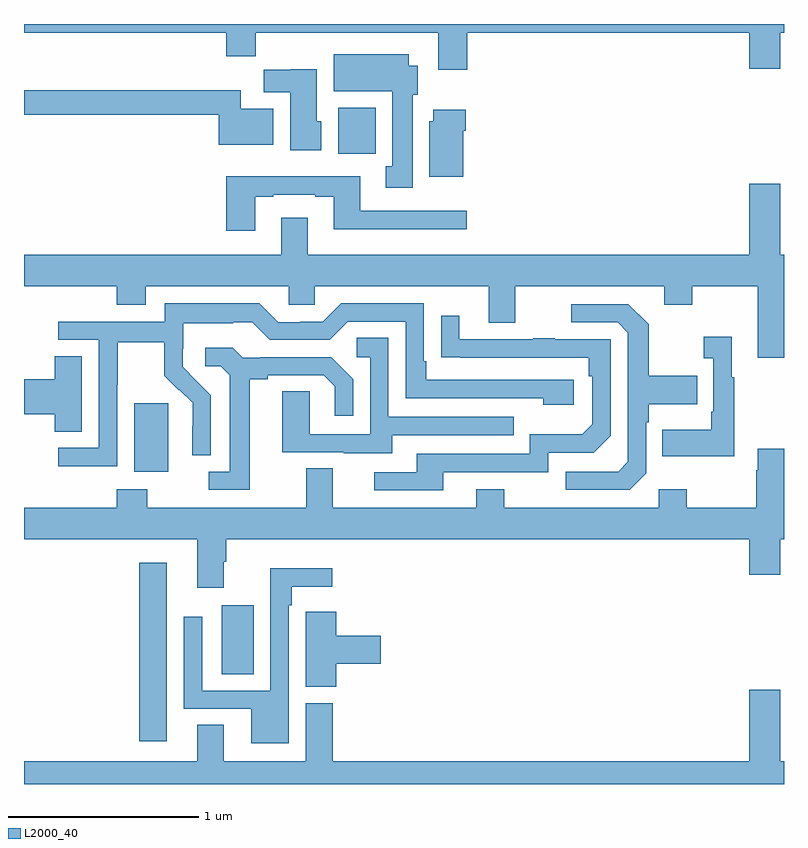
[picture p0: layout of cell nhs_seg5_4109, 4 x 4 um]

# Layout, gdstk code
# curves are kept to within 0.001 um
import gdstk
lib = gdstk.Library(unit=1e-6, precision=1e-09)
def R(c, l, rs):  # rectangles x0, y0, x1, y1
    for r in rs: c.add(gdstk.rectangle(r[:2], r[2:], *l))
def P(c, l, *ps):  # polygons
    for p in ps: c.add(gdstk.Polygon(p, *l))
L2000_40 = (2000, 40)

nhs_seg5_4109 = lib.new_cell('nhs_seg5_4109')
R(nhs_seg5_4109, L2000_40, [(353.606,861.024,353.752,861.964), (354.041,861.376,354.208,861.739), (353.579,862.442,353.758,862.803), (354.653,864.116,354.85,864.358)])
P(nhs_seg5_4109, L2000_40, [(355.334,864.752),(356.816,864.752),(356.816,864.564),(356.98,864.564),(356.98,864.752),(357,864.752),(357,864.799),(353,864.799),(353,864.752),(354.065,864.752),(354.065,864.628),(354.221,864.628),(354.221,864.752),(355.181,864.752),(355.181,864.558),(355.334,864.558)],
  [(355.045,864.426),(355.072,864.426),(355.072,864.58),(355.024,864.58),(355.024,864.64),(354.629,864.64),(354.629,864.446),(354.938,864.446),(354.938,864.05),(354.905,864.05),(354.905,863.937),(355.045,863.937)],
  [(354.565,864.288),(354.541,864.288),(354.541,864.562),(354.405,864.562),(354.405,864.558),(354.262,864.558),(354.262,864.44),(354.401,864.44),(354.401,864.134),(354.565,864.134)],
  [(354.313,864.352),(354.141,864.352),(354.141,864.451),(353,864.451),(353,864.322),(354.025,864.322),(354.025,864.164),(354.313,864.164)],
  [(355.312,864.236),(355.325,864.236),(355.325,864.349),(355.154,864.349),(355.154,864.288),(355.133,864.288),(355.133,863.996),(355.312,863.996)],
  [(354.217,863.889),(354.313,863.889),(354.313,863.901),(354.533,863.901),(354.533,863.889),(354.629,863.889),(354.629,863.72),(355.33,863.72),(355.33,863.817),(354.769,863.817),(354.769,863.998),(354.065,863.998),(354.065,863.712),(354.217,863.712)],
  [(357,863.584),(356.98,863.584),(356.98,863.959),(356.816,863.959),(356.816,863.584),(354.493,863.584),(354.493,863.779),(354.353,863.779),(354.353,863.584),(353,863.584),(353,863.42),(353.489,863.42),(353.489,863.321),(353.641,863.321),(353.641,863.42),(354.393,863.42),(354.393,863.322),(354.531,863.322),(354.531,863.42),(355.445,863.42),(355.445,863.226),(355.585,863.226),(355.585,863.42),(356.369,863.42),(356.369,863.321),(356.517,863.321),(356.517,863.42),(356.861,863.42),(356.861,863.043),(357,863.043)],
  [(353.49,862.9),(353.493,862.9),(353.493,863.124),(353.737,863.124),(353.737,862.949),(353.814,862.872),(353.817,862.875),(353.888,862.805),(353.888,862.682),(353.886,862.682),(353.886,862.528),(353.982,862.528),(353.982,862.846),(353.836,862.994),(353.836,863.091),(353.838,863.091),(353.838,863.225),(354.101,863.225),(354.101,863.229),(354.201,863.229),(354.294,863.136),(354.609,863.136),(354.705,863.232),(355.008,863.232),(355.008,862.83),(355.733,862.83),(355.733,862.796),(355.894,862.796),(355.894,862.926),(355.117,862.926),(355.117,863.023),(355.104,863.023),(355.104,863.328),(354.669,863.328),(354.573,863.232),(354.455,863.232),(354.455,863.229),(354.339,863.229),(354.239,863.329),(353.742,863.329),(353.742,863.232),(353.181,863.232),(353.181,863.136),(353.394,863.136),(353.394,862.569),(353.181,862.569),(353.181,862.471),(353.49,862.471)],
  [(356.274,862.434),(356.274,862.703),(356.287,862.703),(356.287,862.799),(356.543,862.799),(356.543,862.947),(356.287,862.947),(356.287,863.219),(356.181,863.325),(355.881,863.325),(355.881,863.229),(356.124,863.229),(356.178,863.175),(356.178,862.494),(356.127,862.443),(355.851,862.443),(355.851,862.347),(356.187,862.347)],
  [(355.207,862.44),(355.758,862.44),(355.758,862.542),(355.998,862.542),(356.088,862.632),(356.088,863.139),(355.793,863.139),(355.793,863.144),(355.681,863.144),(355.681,863.139),(355.291,863.139),(355.291,863.263),(355.195,863.263),(355.195,863.044),(355.972,863.043),(355.972,862.946),(355.992,862.946),(355.992,862.692),(355.939,862.639),(355.662,862.639),(355.662,862.536),(355.067,862.536),(355.067,862.44),(354.843,862.44),(354.843,862.344),(355.207,862.344)],
  [(356.737,862.939),(356.725,862.939),(356.725,863.152),(356.577,863.152),(356.577,863.039),(356.628,863.039),(356.628,862.759),(356.616,862.759),(356.616,862.663),(356.359,862.663),(356.359,862.523),(356.737,862.523)],
  [(354.937,862.635),(355.577,862.635),(355.577,862.731),(354.918,862.731),(354.918,863.147),(354.75,863.147),(354.75,863.046),(354.822,863.046),(354.822,862.641),(354.504,862.641),(354.504,862.865),(354.359,862.865),(354.359,862.545),(354.683,862.545),(354.683,862.541),(354.937,862.541)],
  [(354.187,862.928),(354.283,862.928),(354.283,862.95),(354.578,862.95),(354.635,862.893),(354.635,862.737),(354.732,862.737),(354.732,862.93),(354.616,863.046),(354.244,863.046),(354.244,863.043),(354.15,863.043),(354.098,863.095),(353.955,863.095),(353.955,862.998),(354.036,862.998),(354.083,862.951),(354.083,862.443),(353.973,862.443),(353.973,862.347),(354.187,862.347)],
  [(353.305,863.051),(353.162,863.051),(353.162,862.928),(353,862.928),(353,862.745),(353.162,862.745),(353.162,862.654),(353.305,862.654)],
  [(353.489,862.351),(353.489,862.252),(353,862.252),(353,862.088),(353.912,862.088),(353.912,861.831),(354.052,861.831),(354.052,861.968),(354.065,861.968),(354.065,862.088),(356.816,862.088),(356.816,861.9),(356.98,861.9),(356.98,862.088),(357,862.088),(357,862.564),(356.861,862.564),(356.861,862.451),(356.854,862.451),(356.854,862.252),(356.487,862.252),(356.487,862.351),(356.34,862.351),(356.34,862.252),(355.527,862.252),(355.527,862.351),(355.379,862.351),(355.379,862.252),(354.625,862.252),(354.625,862.46),(354.485,862.46),(354.485,862.252),(353.649,862.252),(353.649,862.351)],
  [(354.393,861.74),(354.409,861.74),(354.409,861.836),(354.622,861.836),(354.622,861.934),(354.297,861.934),(354.297,861.291),(353.937,861.291),(353.937,861.679),(353.841,861.679),(353.841,861.195),(354.197,861.195),(354.197,861.014),(354.393,861.014)],
  [(354.644,861.431),(354.877,861.431),(354.877,861.578),(354.644,861.578),(354.644,861.706),(354.483,861.706),(354.483,861.593),(354.482,861.593),(354.482,861.31),(354.644,861.31)],
  [(357,860.92),(356.98,860.92),(356.98,861.295),(356.816,861.295),(356.816,860.92),(354.626,860.92),(354.626,861.225),(354.482,861.225),(354.482,860.92),(354.052,860.92),(354.052,861.11),(353.912,861.11),(353.912,860.92),(353,860.92),(353,860.799),(357,860.799)])

lib.write_gds('nhs_seg5_4109.gds')
